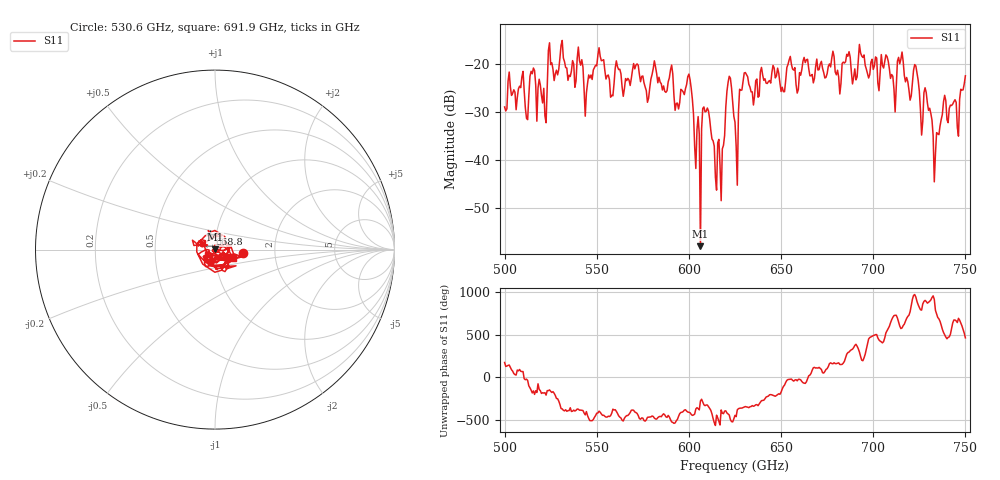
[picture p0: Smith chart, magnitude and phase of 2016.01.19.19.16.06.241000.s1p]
!Created with skrf (http://scikit-rf.org).
# GHz S RI R 50.0
!freq ReS11 ImS11
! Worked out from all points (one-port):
!   401 points, 500 GHz to 750 GHz, reference 50 ohm
!   lowest |S11| = -58.0 dB at 606.2 GHz (marker M1), VSWR 1.00, Z = 50 + j0.125 ohm
!   |S11| at or under -10 dB: start of sweep to end of sweep
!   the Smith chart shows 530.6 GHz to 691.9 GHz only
!   S11 on the Smith chart (normalised r, x): 530.6 GHz: 1.36, -0.06; 668.8 GHz: 0.93, +0.17; 691.9 GHz: 1.21, -0.12
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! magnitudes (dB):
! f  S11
! 500 GHz  -29.0
! 511.9 GHz  -31.3
! 515 GHz  -22.0
! 521.2 GHz  -25.1
! 524.4 GHz  -15.6
! 530.6 GHz  -16.1
! 531.2 GHz  -15.1
! 544.4 GHz  -26.1
! 551.9 GHz  -18.4
! 562.5 GHz  -21.1
! 590 GHz  -21.2
! 593.8 GHz  -28.1
! 600 GHz  -22.1
! 605 GHz  -31.0
! 606.2 GHz  -58.0
! 609.4 GHz  -29.8
! 616.2 GHz  -35.7
! 621.9 GHz  -22.6
! 625 GHz  -32.1
! 630.6 GHz  -21.8
! 656.2 GHz  -21.1
! 668.8 GHz  -20.6
! 687.5 GHz  -18.6
! 691.9 GHz  -19.3
! 718.8 GHz  -23.7
! 723.1 GHz  -20.4
! 733.8 GHz  -38.8
! 750 GHz  -22.5
